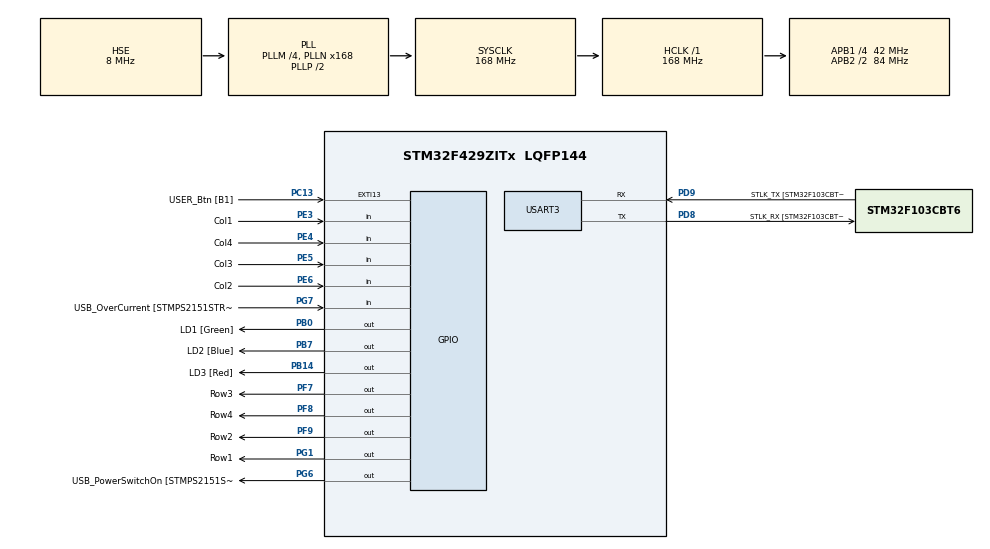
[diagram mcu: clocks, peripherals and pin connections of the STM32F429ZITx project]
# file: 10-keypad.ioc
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Mcu.Family=STM32F4
Mcu.Name=STM32F429ZITx
Mcu.Package=LQFP144
NVIC.PriorityGroup=NVIC_PRIORITYGROUP_4
NVIC.TIM3_IRQn=true\:0\:0\:false\:false\:true\:true\:true\:true
PA1.GPIO_Label=RMII_REF_CLK [LAN8742A-CZ-TR_REFCLK0]
PA1.Signal=ETH_REF_CLK
PA10.GPIO_Label=USB_ID
PA10.Signal=USB_OTG_FS_ID
PA11.GPIO_Label=USB_DM
PA11.Signal=USB_OTG_FS_DM
PA12.GPIO_Label=USB_DP
PA12.Signal=USB_OTG_FS_DP
PA13.GPIO_Label=TMS
PA13.Mode=Serial_Wire
PA13.Signal=SYS_JTMS-SWDIO
PA14.GPIO_Label=TCK
PA14.Mode=Serial_Wire
PA14.Signal=SYS_JTCK-SWCLK
PA2.GPIO_Label=RMII_MDIO [LAN8742A-CZ-TR_MDIO]
PA2.Signal=ETH_MDIO
PA7.GPIO_Label=RMII_CRS_DV [LAN8742A-CZ-TR_CRS_DV]
PA7.Signal=ETH_CRS_DV
PA8.GPIO_Label=USB_SOF [TP1]
PA8.Signal=USB_OTG_FS_SOF
PA9.GPIO_Label=USB_VBUS
PA9.Signal=USB_OTG_FS_VBUS
PB0.GPIO_Label=LD1 [Green]
PB0.Signal=GPIO_Output
PB13.GPIO_Label=RMII_TXD1 [LAN8742A-CZ-TR_TXD1]
PB13.Signal=ETH_TXD1
PB14.GPIO_Label=LD3 [Red]
PB14.Signal=GPIO_Output
PB7.GPIO_Label=LD2 [Blue]
PB7.Signal=GPIO_Output
PC1.GPIO_Label=RMII_MDC [LAN8742A-CZ-TR_MDC]
PC1.Signal=ETH_MDC
PC13.GPIO_Label=USER_Btn [B1]
PC13.Signal=GPXTI13
PC14/OSC32_IN.Mode=LSE-External-Oscillator
PC14/OSC32_IN.Signal=RCC_OSC32_IN
PC15/OSC32_OUT.Mode=LSE-External-Oscillator
PC15/OSC32_OUT.Signal=RCC_OSC32_OUT
PC4.GPIO_Label=RMII_RXD0 [LAN8742A-CZ-TR_RXD0]
PC4.Signal=ETH_RXD0
PC5.GPIO_Label=RMII_RXD1 [LAN8742A-CZ-TR_RXD1]
PC5.Signal=ETH_RXD1
PD8.GPIO_Label=STLK_RX [STM32F103CBT6_PA3]
PD8.Mode=Asynchronous
PD8.Signal=USART3_TX
PD9.GPIO_Label=STLK_TX [STM32F103CBT6_PA2]
PD9.Mode=Asynchronous
PD9.Signal=USART3_RX
PE3.GPIO_Label=Col1
PE3.GPIO_PuPd=GPIO_PULLUP
PE3.Signal=GPIO_Input
PE4.GPIO_Label=Col4
PE4.GPIO_PuPd=GPIO_PULLUP
PE4.Signal=GPIO_Input
PE5.GPIO_Label=Col3
PE5.GPIO_PuPd=GPIO_PULLUP
PE5.Signal=GPIO_Input
PE6.GPIO_Label=Col2
PE6.GPIO_PuPd=GPIO_PULLUP
PE6.Signal=GPIO_Input
PF7.GPIO_Label=Row3
PF7.GPIO_ModeDefaultOutputPP=GPIO_MODE_OUTPUT_OD
PF7.GPIO_PuPd=GPIO_NOPULL
PF7.Signal=GPIO_Output
PF8.GPIO_Label=Row4
PF8.GPIO_ModeDefaultOutputPP=GPIO_MODE_OUTPUT_OD
PF8.GPIO_PuPd=GPIO_NOPULL
PF8.Signal=GPIO_Output
PF9.GPIO_Label=Row2
PF9.GPIO_ModeDefaultOutputPP=GPIO_MODE_OUTPUT_OD
PF9.GPIO_PuPd=GPIO_NOPULL
PF9.Signal=GPIO_Output
PG1.GPIO_Label=Row1
PG1.GPIO_ModeDefaultOutputPP=GPIO_MODE_OUTPUT_OD
PG1.GPIO_PuPd=GPIO_NOPULL
PG1.Signal=GPIO_Output
PG11.GPIO_Label=RMII_TX_EN [LAN8742A-CZ-TR_TXEN]
PG11.Signal=ETH_TX_EN
PG13.GPIO_Label=RMII_TXD0 [LAN8742A-CZ-TR_TXD0]
PG13.Signal=ETH_TXD0
PG6.GPIO_Label=USB_PowerSwitchOn [STMPS2151STR_EN]
PG6.Signal=GPIO_Output
PG7.GPIO_Label=USB_OverCurrent [STMPS2151STR_FAULT]
PG7.Signal=GPIO_Input
PH0/OSC_IN.GPIO_Label=MCO [STM32F103CBT6_PA8]
PH0/OSC_IN.Mode=HSE-External-Clock-Source
PH0/OSC_IN.Signal=RCC_OSC_IN
PH1/OSC_OUT.Mode=HSE-External-Clock-Source
PH1/OSC_OUT.Signal=RCC_OSC_OUT
ProjectManager.HeapSize=0x200
ProjectManager.StackSize=0x400
ProjectManager.TargetToolchain=STM32CubeIDE
RCC.48MHZClocksFreq_Value=48000000
RCC.AHBFreq_Value=168000000
RCC.APB1CLKDivider=RCC_HCLK_DIV4
RCC.APB1Freq_Value=42000000
RCC.APB1TimFreq_Value=84000000
RCC.APB2CLKDivider=RCC_HCLK_DIV2
RCC.APB2Freq_Value=84000000
RCC.APB2TimCLKDivider=2
RCC.APB2TimFreq_Value=168000000
RCC.CortexFreq_Value=168000000
RCC.HCLKFreq_Value=168000000
RCC.HSE_VALUE=8000000
RCC.HSI_VALUE=16000000
RCC.PLLM=4
RCC.PLLMUL=RCC_PLL_MUL9
RCC.PLLN=168
RCC.PLLQ=7
RCC.PLLSourceVirtual=RCC_PLLSOURCE_HSE
RCC.PRESCALERUSB=RCC_USBCLKSOURCE_PLL_DIV1_5
RCC.SYSCLKFreq_VALUE=168000000
RCC.SYSCLKSource=RCC_SYSCLKSOURCE_PLLCLK
RCC.SYSCLKSourceVirtual=RCC_SYSCLKSOURCE_PLLCLK
RCC.USBFreq_Value=48000000
RCC.VCOOutputFreq_Value=336000000
TIM3.AutoReloadPreload=TIM_AUTORELOAD_PRELOAD_ENABLE
TIM3.Period=99
TIM3.Prescaler=8399
USART3.VirtualMode=VM_ASYNC
VP_TIM3_VS_ClockSourceINT.Mode=Internal
board=NUCLEO-F429ZI

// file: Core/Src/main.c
/* USER CODE BEGIN Header */
/**
 ******************************************************************************
 * @file           : main.c
 * @brief          : Main program body
 ******************************************************************************
 * @attention
 *
 * Copyright (c) 2024 STMicroelectronics.
 * All rights reserved.
 *
 * This software is licensed under terms that can be found in the LICENSE file
 * in the root directory of this software component.
 * If no LICENSE file comes with this software, it is provided AS-IS.
 *
 ******************************************************************************
 */
/* USER CODE END Header */
#include "main.h"

/* USER CODE BEGIN Includes */
#include <stdio.h>
/* USER CODE END Includes */

TIM_HandleTypeDef htim3;

UART_HandleTypeDef huart3;

/* USER CODE BEGIN PV */
static volatile char key;
static char password[5] = {'7', '9', '3', '2', '#'};
static const uint16_t PRESS_TIMEOUT = 3000;
static const uint16_t LED_TIMEOUT = 2000;
static uint8_t pos = 0;
static uint32_t lastPress = UINT32_MAX;
static uint32_t lastLed = UINT32_MAX;
/* USER CODE END PV */

void SystemClock_Config(void);
static void MX_GPIO_Init(void);
static void MX_USART3_UART_Init(void);
static void MX_TIM3_Init(void);

/* USER CODE BEGIN 0 */
int __io_putchar(int ch)
{
	ITM_SendChar(ch);
	return 0;
}
/* USER CODE END 0 */

int main(void)
{

  /* MCU Configuration--------------------------------------------------------*/

  /* Reset of all peripherals, Initializes the Flash interface and the Systick. */
  HAL_Init();

  /* Configure the system clock */
  SystemClock_Config();

  /* Initialize all configured peripherals */
  MX_GPIO_Init();
  MX_USART3_UART_Init();
  MX_TIM3_Init();
  /* USER CODE BEGIN 2 */
  HAL_TIM_Base_Start_IT(&htim3);
  /* USER CODE END 2 */

  /* Infinite loop */
  /* USER CODE BEGIN WHILE */
	while (1)
	{

		if (key != 0) {
			lastPress = HAL_GetTick();
			printf("Pressed [%c]\n", key);
			if (key == password[pos]) {
				if (pos == 4) {
					printf("ACCESS GRANTED\n");
					HAL_GPIO_TogglePin(LD1_GPIO_Port, LD1_Pin);
					lastLed = HAL_GetTick();
					pos = 0;
				} else {
					pos++;
				}
			} else {
				pos = 0;
			}
			HAL_Delay(300);
			key = 0;
		}

		if (HAL_GetTick() - PRESS_TIMEOUT > lastPress) {
			pos = 0;
			lastPress = UINT32_MAX;
			printf("Timeout\n");
		}

		if (HAL_GetTick() - LED_TIMEOUT > lastLed) {
			HAL_GPIO_TogglePin(LD1_GPIO_Port, LD1_Pin);
			lastLed = UINT32_MAX;
		}

    /* USER CODE END WHILE */

	}
}

void SystemClock_Config(void)
{
  RCC_OscInitTypeDef RCC_OscInitStruct = {0};
  RCC_ClkInitTypeDef RCC_ClkInitStruct = {0};

  /** Configure the main internal regulator output voltage
  */
  __HAL_RCC_PWR_CLK_ENABLE();
  __HAL_PWR_VOLTAGESCALING_CONFIG(PWR_REGULATOR_VOLTAGE_SCALE1);

  /** Initializes the RCC Oscillators according to the specified parameters
  * in the RCC_OscInitTypeDef structure.
  */
  RCC_OscInitStruct.OscillatorType = RCC_OSCILLATORTYPE_HSE;
  RCC_OscInitStruct.HSEState = RCC_HSE_BYPASS;
  RCC_OscInitStruct.PLL.PLLState = RCC_PLL_ON;
  RCC_OscInitStruct.PLL.PLLSource = RCC_PLLSOURCE_HSE;
  RCC_OscInitStruct.PLL.PLLM = 4;
  RCC_OscInitStruct.PLL.PLLN = 168;
  RCC_OscInitStruct.PLL.PLLP = RCC_PLLP_DIV2;
  RCC_OscInitStruct.PLL.PLLQ = 7;
  if (HAL_RCC_OscConfig(&RCC_OscInitStruct) != HAL_OK)
  {
    Error_Handler();
  }

  /** Initializes the CPU, AHB and APB buses clocks
  */
  RCC_ClkInitStruct.ClockType = RCC_CLOCKTYPE_HCLK|RCC_CLOCKTYPE_SYSCLK
                              |RCC_CLOCKTYPE_PCLK1|RCC_CLOCKTYPE_PCLK2;
  RCC_ClkInitStruct.SYSCLKSource = RCC_SYSCLKSOURCE_PLLCLK;
  RCC_ClkInitStruct.AHBCLKDivider = RCC_SYSCLK_DIV1;
  RCC_ClkInitStruct.APB1CLKDivider = RCC_HCLK_DIV4;
  RCC_ClkInitStruct.APB2CLKDivider = RCC_HCLK_DIV2;

  if (HAL_RCC_ClockConfig(&RCC_ClkInitStruct, FLASH_LATENCY_5) != HAL_OK)
  {
    Error_Handler();
  }
}

static void MX_TIM3_Init(void)
{

  TIM_ClockConfigTypeDef sClockSourceConfig = {0};
  TIM_MasterConfigTypeDef sMasterConfig = {0};

  htim3.Instance = TIM3;
  htim3.Init.Prescaler = 8399;
  htim3.Init.CounterMode = TIM_COUNTERMODE_UP;
  htim3.Init.Period = 99;
  htim3.Init.ClockDivision = TIM_CLOCKDIVISION_DIV1;
  htim3.Init.AutoReloadPreload = TIM_AUTORELOAD_PRELOAD_ENABLE;
  if (HAL_TIM_Base_Init(&htim3) != HAL_OK)
  {
    Error_Handler();
  }
  sClockSourceConfig.ClockSource = TIM_CLOCKSOURCE_INTERNAL;
  if (HAL_TIM_ConfigClockSource(&htim3, &sClockSourceConfig) != HAL_OK)
  {
    Error_Handler();
  }
  sMasterConfig.MasterOutputTrigger = TIM_TRGO_RESET;
  sMasterConfig.MasterSlaveMode = TIM_MASTERSLAVEMODE_DISABLE;
  if (HAL_TIMEx_MasterConfigSynchronization(&htim3, &sMasterConfig) != HAL_OK)
  {
    Error_Handler();
  }

}

static void MX_USART3_UART_Init(void)
{

  huart3.Instance = USART3;
  huart3.Init.BaudRate = 115200;
  huart3.Init.WordLength = UART_WORDLENGTH_8B;
  huart3.Init.StopBits = UART_STOPBITS_1;
  huart3.Init.Parity = UART_PARITY_NONE;
  huart3.Init.Mode = UART_MODE_TX_RX;
  huart3.Init.HwFlowCtl = UART_HWCONTROL_NONE;
  huart3.Init.OverSampling = UART_OVERSAMPLING_16;
  if (HAL_UART_Init(&huart3) != HAL_OK)
  {
    Error_Handler();
  }

}

static void MX_GPIO_Init(void)
{
  GPIO_InitTypeDef GPIO_InitStruct = {0};

  /* GPIO Ports Clock Enable */
  __HAL_RCC_GPIOE_CLK_ENABLE();
  __HAL_RCC_GPIOC_CLK_ENABLE();
  __HAL_RCC_GPIOF_CLK_ENABLE();
  __HAL_RCC_GPIOH_CLK_ENABLE();
  __HAL_RCC_GPIOA_CLK_ENABLE();
  __HAL_RCC_GPIOB_CLK_ENABLE();
  __HAL_RCC_GPIOG_CLK_ENABLE();
  __HAL_RCC_GPIOD_CLK_ENABLE();

  /*Configure GPIO pin Output Level */
  HAL_GPIO_WritePin(GPIOF, Row3_Pin|Row4_Pin|Row2_Pin, GPIO_PIN_RESET);

  /*Configure GPIO pin Output Level */
  HAL_GPIO_WritePin(GPIOB, LD1_Pin|LD3_Pin|LD2_Pin, GPIO_PIN_RESET);

  /*Configure GPIO pin Output Level */
  HAL_GPIO_WritePin(GPIOG, Row1_Pin|USB_PowerSwitchOn_Pin, GPIO_PIN_RESET);

  /*Configure GPIO pins : Col1_Pin Col4_Pin Col3_Pin Col2_Pin */
  GPIO_InitStruct.Pin = Col1_Pin|Col4_Pin|Col3_Pin|Col2_Pin;
  GPIO_InitStruct.Mode = GPIO_MODE_INPUT;
  GPIO_InitStruct.Pull = GPIO_PULLUP;
  HAL_GPIO_Init(GPIOE, &GPIO_InitStruct);

  /*Configure GPIO pin : USER_Btn_Pin */
  GPIO_InitStruct.Pin = USER_Btn_Pin;
  GPIO_InitStruct.Mode = GPIO_MODE_IT_RISING;
  GPIO_InitStruct.Pull = GPIO_NOPULL;
  HAL_GPIO_Init(USER_Btn_GPIO_Port, &GPIO_InitStruct);

  /*Configure GPIO pins : Row3_Pin Row4_Pin Row2_Pin */
  GPIO_InitStruct.Pin = Row3_Pin|Row4_Pin|Row2_Pin;
  GPIO_InitStruct.Mode = GPIO_MODE_OUTPUT_OD;
  GPIO_InitStruct.Pull = GPIO_NOPULL;
  GPIO_InitStruct.Speed = GPIO_SPEED_FREQ_LOW;
  HAL_GPIO_Init(GPIOF, &GPIO_InitStruct);

  /*Configure GPIO pins : RMII_MDC_Pin RMII_RXD0_Pin RMII_RXD1_Pin */
  GPIO_InitStruct.Pin = RMII_MDC_Pin|RMII_RXD0_Pin|RMII_RXD1_Pin;
  GPIO_InitStruct.Mode = GPIO_MODE_AF_PP;
  GPIO_InitStruct.Pull = GPIO_NOPULL;
  GPIO_InitStruct.Speed = GPIO_SPEED_FREQ_VERY_HIGH;
  GPIO_InitStruct.Alternate = GPIO_AF11_ETH;
  HAL_GPIO_Init(GPIOC, &GPIO_InitStruct);

  /*Configure GPIO pins : RMII_REF_CLK_Pin RMII_MDIO_Pin RMII_CRS_DV_Pin */
  GPIO_InitStruct.Pin = RMII_REF_CLK_Pin|RMII_MDIO_Pin|RMII_CRS_DV_Pin;
  GPIO_InitStruct.Mode = GPIO_MODE_AF_PP;
  GPIO_InitStruct.Pull = GPIO_NOPULL;
  GPIO_InitStruct.Speed = GPIO_SPEED_FREQ_VERY_HIGH;
  GPIO_InitStruct.Alternate = GPIO_AF11_ETH;
  HAL_GPIO_Init(GPIOA, &GPIO_InitStruct);

  /*Configure GPIO pins : LD1_Pin LD3_Pin LD2_Pin */
  GPIO_InitStruct.Pin = LD1_Pin|LD3_Pin|LD2_Pin;
  GPIO_InitStruct.Mode = GPIO_MODE_OUTPUT_PP;
  GPIO_InitStruct.Pull = GPIO_NOPULL;
  GPIO_InitStruct.Speed = GPIO_SPEED_FREQ_LOW;
  HAL_GPIO_Init(GPIOB, &GPIO_InitStruct);

  /*Configure GPIO pin : Row1_Pin */
  GPIO_InitStruct.Pin = Row1_Pin;
  GPIO_InitStruct.Mode = GPIO_MODE_OUTPUT_OD;
  GPIO_InitStruct.Pull = GPIO_NOPULL;
  GPIO_InitStruct.Speed = GPIO_SPEED_FREQ_LOW;
  HAL_GPIO_Init(Row1_GPIO_Port, &GPIO_InitStruct);

  /*Configure GPIO pin : RMII_TXD1_Pin */
  GPIO_InitStruct.Pin = RMII_TXD1_Pin;
  GPIO_InitStruct.Mode = GPIO_MODE_AF_PP;
  GPIO_InitStruct.Pull = GPIO_NOPULL;
  GPIO_InitStruct.Speed = GPIO_SPEED_FREQ_VERY_HIGH;
  GPIO_InitStruct.Alternate = GPIO_AF11_ETH;
  HAL_GPIO_Init(RMII_TXD1_GPIO_Port, &GPIO_InitStruct);

  /*Configure GPIO pin : USB_PowerSwitchOn_Pin */
  GPIO_InitStruct.Pin = USB_PowerSwitchOn_Pin;
  GPIO_InitStruct.Mode = GPIO_MODE_OUTPUT_PP;
  GPIO_InitStruct.Pull = GPIO_NOPULL;
  GPIO_InitStruct.Speed = GPIO_SPEED_FREQ_LOW;
  HAL_GPIO_Init(USB_PowerSwitchOn_GPIO_Port, &GPIO_InitStruct);

  /*Configure GPIO pin : USB_OverCurrent_Pin */
  GPIO_InitStruct.Pin = USB_OverCurrent_Pin;
  GPIO_InitStruct.Mode = GPIO_MODE_INPUT;
  GPIO_InitStruct.Pull = GPIO_NOPULL;
  HAL_GPIO_Init(USB_OverCurrent_GPIO_Port, &GPIO_InitStruct);

  /*Configure GPIO pins : USB_SOF_Pin USB_ID_Pin USB_DM_Pin USB_DP_Pin */
  GPIO_InitStruct.Pin = USB_SOF_Pin|USB_ID_Pin|USB_DM_Pin|USB_DP_Pin;
  GPIO_InitStruct.Mode = GPIO_MODE_AF_PP;
  GPIO_InitStruct.Pull = GPIO_NOPULL;
  GPIO_InitStruct.Speed = GPIO_SPEED_FREQ_VERY_HIGH;
  GPIO_InitStruct.Alternate = GPIO_AF10_OTG_FS;
  HAL_GPIO_Init(GPIOA, &GPIO_InitStruct);

  /*Configure GPIO pin : USB_VBUS_Pin */
  GPIO_InitStruct.Pin = USB_VBUS_Pin;
  GPIO_InitStruct.Mode = GPIO_MODE_INPUT;
  GPIO_InitStruct.Pull = GPIO_NOPULL;
  HAL_GPIO_Init(USB_VBUS_GPIO_Port, &GPIO_InitStruct);

  /*Configure GPIO pins : RMII_TX_EN_Pin RMII_TXD0_Pin */
  GPIO_InitStruct.Pin = RMII_TX_EN_Pin|RMII_TXD0_Pin;
  GPIO_InitStruct.Mode = GPIO_MODE_AF_PP;
  GPIO_InitStruct.Pull = GPIO_NOPULL;
  GPIO_InitStruct.Speed = GPIO_SPEED_FREQ_VERY_HIGH;
  GPIO_InitStruct.Alternate = GPIO_AF11_ETH;
  HAL_GPIO_Init(GPIOG, &GPIO_InitStruct);

}

/* USER CODE BEGIN 4 */
void HAL_TIM_PeriodElapsedCallback(TIM_HandleTypeDef *htim)
{
	static uint8_t row = 0;
	static const char keyboard[4][4] = {
			{ '1', '2', '3', 'A' },
			{ '4', '5', '6', 'B' },
			{ '7', '8', '9', 'C' },
			{ '*', '0', '#', 'D' },
	};
	if (key == 0) {
		if (HAL_GPIO_ReadPin(Col1_GPIO_Port, Col1_Pin) == GPIO_PIN_RESET) {
			key = keyboard[row][0];
		}
		if (HAL_GPIO_ReadPin(Col2_GPIO_Port, Col2_Pin) == GPIO_PIN_RESET) {
			key = keyboard[row][1];
		}
		if (HAL_GPIO_ReadPin(Col3_GPIO_Port, Col3_Pin) == GPIO_PIN_RESET) {
			key = keyboard[row][2];
		}
		if (HAL_GPIO_ReadPin(Col4_GPIO_Port, Col4_Pin) == GPIO_PIN_RESET) {
			key = keyboard[row][3];
		}
	}
	HAL_GPIO_WritePin(Row1_GPIO_Port, Row1_Pin, GPIO_PIN_SET);
	HAL_GPIO_WritePin(Row2_GPIO_Port, Row2_Pin, GPIO_PIN_SET);
	HAL_GPIO_WritePin(Row3_GPIO_Port, Row3_Pin, GPIO_PIN_SET);
	HAL_GPIO_WritePin(Row4_GPIO_Port, Row4_Pin, GPIO_PIN_SET);
	switch (row) {
	case 0:
		row = 1;
		HAL_GPIO_WritePin(Row2_GPIO_Port, Row2_Pin, GPIO_PIN_RESET);
		break;
	case 1:
		row = 2;
		HAL_GPIO_WritePin(Row3_GPIO_Port, Row3_Pin, GPIO_PIN_RESET);
		break;
	case 2:
		row = 3;
		HAL_GPIO_WritePin(Row4_GPIO_Port, Row4_Pin, GPIO_PIN_RESET);
		break;
	case 3:
		row = 0;
		HAL_GPIO_WritePin(Row1_GPIO_Port, Row1_Pin, GPIO_PIN_RESET);
		break;
	}
}

/* USER CODE END 4 */

void Error_Handler(void)
{
	__disable_irq();
	while (1)
	{
	}
}
